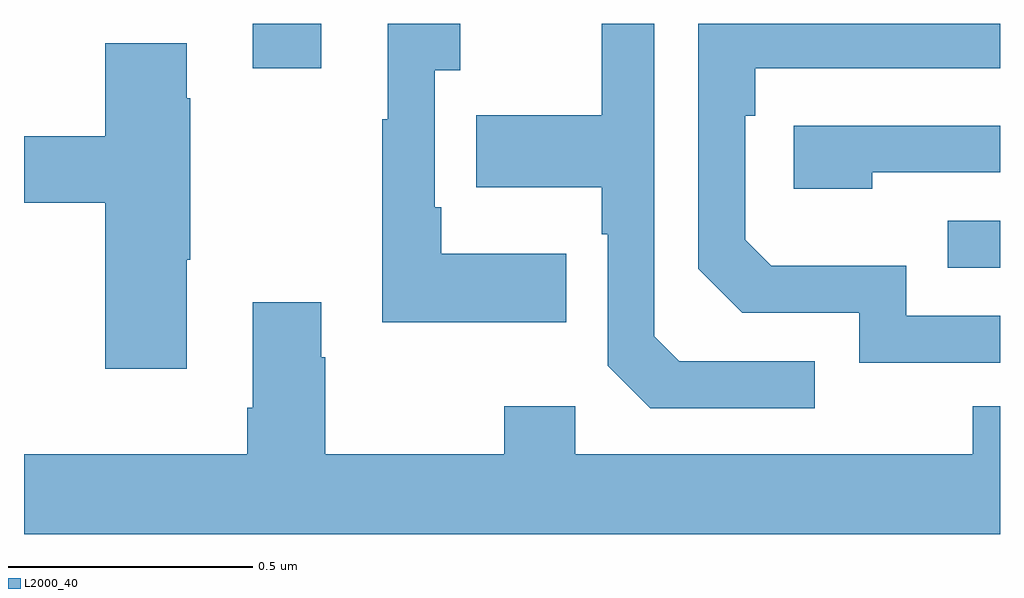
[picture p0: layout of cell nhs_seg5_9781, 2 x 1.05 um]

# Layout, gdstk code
import gdstk
lib = gdstk.Library(unit=1e-6, precision=1e-09)
def R(c, l, rs):  # rectangles x0, y0, x1, y1
    for r in rs: c.add(gdstk.rectangle(r[:2], r[2:], *l))
def P(c, l, *ps):  # polygons
    for p in ps: c.add(gdstk.Polygon(p, *l))
L2000_40 = (2000, 40)

nhs_seg5_9781 = lib.new_cell('nhs_seg5_9781')
R(nhs_seg5_9781, L2000_40, [(239.893,865.299,240,865.395), (238.469,865.707,238.609,865.799)])
P(nhs_seg5_9781, L2000_40, [(239.62,865.107),(239.343,865.107),(239.292,865.158),(239.292,865.799),(239.184,865.799),(239.184,865.611),(238.927,865.611),(238.927,865.463),(239.184,865.463),(239.184,865.367),(239.196,865.367),(239.196,865.098),(239.283,865.011),(239.62,865.011)],
  [(240,865.2),(239.808,865.2),(239.808,865.303),(239.531,865.303),(239.478,865.356),(239.478,865.61),(239.498,865.61),(239.498,865.707),(240,865.707),(240,865.799),(239.382,865.799),(239.382,865.296),(239.472,865.206),(239.712,865.206),(239.712,865.104),(240,865.104)],
  [(239.111,865.327),(238.855,865.327),(238.855,865.423),(238.842,865.423),(238.842,865.703),(238.894,865.703),(238.894,865.799),(238.745,865.799),(238.745,865.603),(238.734,865.603),(238.734,865.187),(239.111,865.187)],
  [(238.333,865.315),(238.341,865.315),(238.341,865.646),(238.333,865.646),(238.333,865.759),(238.166,865.759),(238.166,865.568),(238,865.568),(238,865.432),(238.166,865.432),(238.166,865.092),(238.333,865.092)],
  [(239.738,865.494),(240,865.494),(240,865.59),(239.577,865.59),(239.577,865.46),(239.738,865.46)],
  [(240,865.015),(239.944,865.015),(239.944,864.916),(239.13,864.916),(239.13,865.015),(238.984,865.015),(238.984,864.916),(238.617,864.916),(238.617,865.115),(238.609,865.115),(238.609,865.228),(238.469,865.228),(238.469,865.012),(238.457,865.012),(238.457,864.916),(238,864.916),(238,864.752),(240,864.752)])

lib.write_gds('nhs_seg5_9781.gds')
